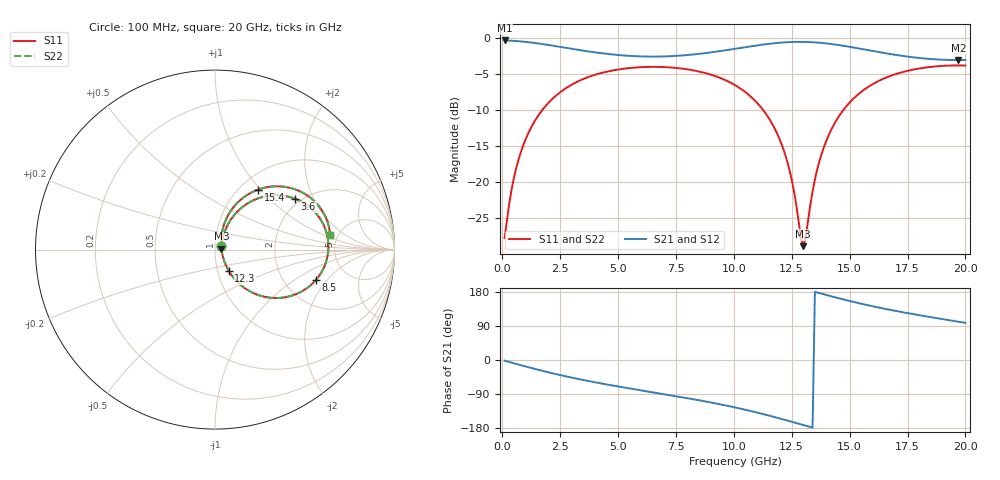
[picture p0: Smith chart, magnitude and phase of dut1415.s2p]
! Touchstone file exported from HFSS 2026.1.0
!  File:  C:/ffzhzh/LocalFiles/Ansys_Project_Files/temp_train_TSV_RDL_1415_1783353617_4416.aedt
!  Generated:  12:11:02 AM Jul  7, 2026
!  Design:  TSV_RDL
!  Project:  temp_train_TSV_RDL_1415_1783353617_4416
! Variables:
!  h_bsmrdl = 4.21um
!  h_ox = 20um
!  h_rdl = 5um
!  h_sub = 61.47um
!  h_tmrdl = 3.42um
!  h_tsv = 61.47um
!  h_via = 3um
!  l_bsmrdl = 181.57um
!  l_sub = 4406.8um
!  l_tmrdl = 837.3um
!  m_sub = 200um
!  pitch = 47.85um
!  r_tsv = 10.5um
!  s_tmrdl = 10um
!  w_bsmrdl = 27.51um
!  w_sub = 500um
!  w_tmrdl = 10.12um
!  x_tsv_center1 = 842.36um
!  x_tsv_center2 = 1051.44um
!  x_tsv_center3 = 1898.86um
!  x_tsv_center4 = 2107.94um
!  x_tsv_center5 = 2955.36um
!  x_tsv_center6 = 3164.44um
# GHz S MA R 50.000000
! Terminal data exported
! Port[1] = TM_RDL1_1_T1
! Port[2] = TM_RDL5_1_T1
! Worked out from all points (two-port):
!   200 points, 100 MHz to 20 GHz, reference 50 ohm
!   highest |S21| = -0.32 dB at 100 MHz (marker M1); lowest = -3.0 dB at 19.7 GHz (marker M2)
!   |S21| within 3 dB of the highest: start of sweep to end of sweep
!   lowest |S11| = -28.9 dB at 13 GHz (marker M3), VSWR 1.07, Z = 53.7 + j0.463 ohm
!   |S11| at or under -10 dB: start of sweep to 1.722 GHz; 11.27 GHz to 14.72 GHz (3.449 GHz wide, 26.5 % of centre)
!   |S22| runs from -28.8 to -3.8 dB; largest |S21 - S12| = 2.1e-14
!   S11 on the Smith chart (normalised r, x): 100 MHz: 1.07, +0.04; 3.6 GHz: 1.86, +1.47; 8.5 GHz: 2.97, -1.54; 12.3 GHz: 1.13, -0.27; 15.4 GHz: 1.21, +0.97; 20 GHz: 4.29, +1.21
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0.1  0.04109 28.4  0.9643 -1.8  0.9643 -1.8  0.04109 28.4
! Gamma 0 0 0 0
! Port Impedance 50 0 50 0
0.3  0.0711 54.0  0.9618 -5.3  0.9618 -5.3  0.0711 54.0
0.6  0.1254 62.2  0.9553 -10.4  0.9553 -10.4  0.1254 62.2
1.2  0.2323 60.2  0.935 -20.3  0.935 -20.3  0.2323 60.2
2.2  0.3841 48.9  0.8865 -35.6  0.8865 -35.6  0.3841 48.9
3.5  0.5212 33.5  0.8193 -52.9  0.8193 -52.9  0.5212 33.5
3.6  0.5291 32.4  0.8147 -54.1  0.8147 -54.1  0.5291 32.4
5.2  0.6127 15.6  0.7596 -72.0  0.7596 -72.0  0.6128 15.6
6.8  0.6316 0.1  0.7461 -88.3  0.7461 -88.3  0.6316 0.1
8.5  0.5869 -16.8  0.7785 -106.2  0.7785 -106.2  0.587 -16.8
10.1  0.4675 -34.8  0.8464 -125.8  0.8464 -125.8  0.4675 -34.8
11.4  0.2965 -50.6  0.909 -144.8  0.909 -144.8  0.2965 -50.6
12.3  0.1407 -57.0  0.9376 -159.6  0.9376 -159.6  0.1408 -57.0
12.6  0.0863 -52.1  0.9418 -164.7  0.9418 -164.7  0.08635 -52.1
13  0.03609 6.8  0.9425 -171.6  0.9425 -171.6  0.03612 6.8
13.4  0.08665 65.3  0.9374 -178.4  0.9374 -178.4  0.08662 65.3
13.7  0.1411 70.2  0.9299 176.5  0.9299 176.5  0.1411 70.1
14.2  0.2307 68.0  0.9114 168.2  0.9114 168.2  0.2306 68.0
15.4  0.4117 54.3  0.8488 149.9  0.8488 149.9  0.4117 54.3
16.7  0.5426 39.3  0.779 132.9  0.779 132.9  0.5426 39.3
19.7  0.6473 10.0  0.7051 101.1  0.7051 101.1  0.6473 10.0
20  0.6461 7.3  0.706 98.1  0.706 98.1  0.6461 7.3
